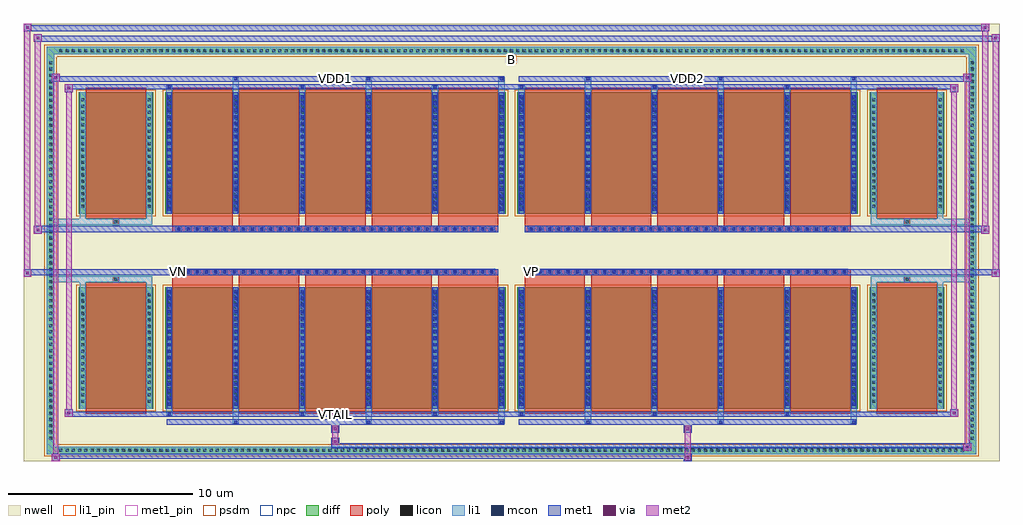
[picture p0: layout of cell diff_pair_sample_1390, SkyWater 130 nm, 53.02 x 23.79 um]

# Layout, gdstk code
import gdstk
lib = gdstk.Library(unit=1e-6, precision=5e-09)
def R(c, l, rs):  # rectangles x0, y0, x1, y1
    for r in rs: c.add(gdstk.rectangle(r[:2], r[2:], *l))
def A(c, l, x, y, w, h, nx, ny, dx, dy):  # array of equal rectangles
    R(c, l, [(x+i*dx, y+j*dy, x+i*dx+w, y+j*dy+h) for i in range(nx) for j in range(ny)])
def P(c, l, *ps):  # polygons
    for p in ps: c.add(gdstk.Polygon(p, *l))
nwell = (64, 20)
diff = (65, 20)
poly = (66, 20)
licon = (66, 44)
li1_pin = (67, 16)
li1 = (67, 20)
mcon = (67, 44)
met1_pin = (68, 16)
met1 = (68, 20)
via = (68, 44)
met2 = (69, 20)
psdm = (94, 20)
npc = (95, 20)

diff_pair_sample_1390 = lib.new_cell('diff_pair_sample_1390')
R(diff_pair_sample_1390, nwell, [(-26.51,-11.46,26.51,12.33), (-23.83,-9.65,-0.01,-0.805), (0.01,-9.65,23.83,-0.805), (-23.83,0.805,-0.01,9.65), (0.01,0.805,23.83,9.65)])
A(diff_pair_sample_1390, diff, -24.685, -11.06, 0.41, 0.41, 145, 2, 0.34, 21.71)
A(diff_pair_sample_1390, diff, -25.24, -10.405, 0.41, 0.41, 1, 61, 0, 0.34)
A(diff_pair_sample_1390, diff, 24.83, -10.405, 0.41, 0.41, 1, 61, 0, 0.34)
R(diff_pair_sample_1390, diff, [(-24.685,-11.06,24.685,-10.65), (-25.24,-10.405,-24.83,10.405), (24.83,-10.405,25.24,10.405), (-23.52,-8.605,-19.46,-1.985), (-18.82,-8.605,-0.32,-1.985), (0.32,-8.605,18.82,-1.985), (19.46,-8.605,23.52,-1.985), (-23.52,1.985,-19.46,8.605), (-18.82,1.985,-0.32,8.605), (0.32,1.985,18.82,8.605), (19.46,1.985,23.52,8.605), (-24.685,10.65,24.685,11.06)])
P(diff_pair_sample_1390, diff, [(25.24,11.06),(-25.24,11.06),(-25.24,-10.65),(-24.83,-10.65),(-24.83,10.65),(24.83,10.65),(24.83,-10.65),(-24.83,-10.65),(-25.24,-10.65),(-25.24,-11.06),(25.24,-11.06)])
A(diff_pair_sample_1390, poly, -18.43, -8.855, 3.28, 7.12, 5, 2, 3.61, 10.59)
A(diff_pair_sample_1390, poly, 0.71, -8.855, 3.28, 7.12, 5, 2, 3.61, 10.59)
A(diff_pair_sample_1390, poly, -18.43, -1.735, 3.28, 0.4, 5, 2, 3.61, 3.07)
A(diff_pair_sample_1390, poly, 0.71, -1.735, 3.28, 0.4, 5, 2, 3.61, 3.07)
A(diff_pair_sample_1390, poly, -18.235, -1.335, 0.33, 0.33, 35, 2, 0.5, 2.34)
A(diff_pair_sample_1390, poly, 0.905, -1.335, 0.33, 0.33, 35, 2, 0.5, 2.34)
R(diff_pair_sample_1390, poly, [(-23.13,-8.855,-19.85,-1.735), (19.85,-8.855,23.13,-1.735), (-21.655,-1.735,-21.325,-1.405), (-21.655,-1.735,-21.325,-1.405), (21.325,-1.735,21.655,-1.405), (21.325,-1.735,21.655,-1.405), (-18.43,-1.335,-0.71,-1.005), (0.71,-1.335,18.43,-1.005), (-18.43,1.005,-0.71,1.335), (0.71,1.005,18.43,1.335), (-21.655,1.405,-21.325,1.735), (-21.655,1.405,-21.325,1.735), (21.325,1.405,21.655,1.735), (21.325,1.405,21.655,1.735), (-23.13,1.735,-19.85,8.855), (19.85,1.735,23.13,8.855)])
A(diff_pair_sample_1390, licon, -24.565, -10.94, 0.17, 0.17, 145, 2, 0.34, 21.71)
A(diff_pair_sample_1390, licon, -25.12, -10.285, 0.17, 0.17, 1, 61, 0, 0.34)
A(diff_pair_sample_1390, licon, 24.95, -10.285, 0.17, 0.17, 1, 61, 0, 0.34)
A(diff_pair_sample_1390, licon, -23.38, -8.27, 0.17, 0.17, 1, 18, 0, 0.34)
A(diff_pair_sample_1390, licon, -19.77, -8.27, 0.17, 0.17, 1, 18, 0, 0.34)
A(diff_pair_sample_1390, licon, -18.68, -8.27, 0.17, 0.17, 6, 18, 3.61, 0.34)
A(diff_pair_sample_1390, licon, 0.46, -8.27, 0.17, 0.17, 6, 18, 3.61, 0.34)
A(diff_pair_sample_1390, licon, 19.6, -8.27, 0.17, 0.17, 1, 18, 0, 0.34)
A(diff_pair_sample_1390, licon, 23.21, -8.27, 0.17, 0.17, 1, 18, 0, 0.34)
A(diff_pair_sample_1390, licon, -18.155, -1.255, 0.17, 0.17, 35, 2, 0.5, 2.34)
A(diff_pair_sample_1390, licon, 0.985, -1.255, 0.17, 0.17, 35, 2, 0.5, 2.34)
A(diff_pair_sample_1390, licon, -23.38, 2.32, 0.17, 0.17, 1, 18, 0, 0.34)
A(diff_pair_sample_1390, licon, -19.77, 2.32, 0.17, 0.17, 1, 18, 0, 0.34)
A(diff_pair_sample_1390, licon, -18.68, 2.32, 0.17, 0.17, 6, 18, 3.61, 0.34)
A(diff_pair_sample_1390, licon, 0.46, 2.32, 0.17, 0.17, 6, 18, 3.61, 0.34)
A(diff_pair_sample_1390, licon, 19.6, 2.32, 0.17, 0.17, 1, 18, 0, 0.34)
A(diff_pair_sample_1390, licon, 23.21, 2.32, 0.17, 0.17, 1, 18, 0, 0.34)
R(diff_pair_sample_1390, licon, [(-21.575,-1.655,-21.405,-1.485), (21.405,-1.655,21.575,-1.485), (-21.575,1.485,-21.405,1.655), (21.405,1.485,21.575,1.655)])
R(diff_pair_sample_1390, li1_pin, [(-0.25,10.15,0.25,10.65)])
A(diff_pair_sample_1390, li1, -24.645, -11.02, 0.33, 0.33, 145, 2, 0.34, 21.71)
A(diff_pair_sample_1390, li1, -25.2, -10.365, 0.33, 0.33, 1, 61, 0, 0.34)
A(diff_pair_sample_1390, li1, 24.87, -10.365, 0.33, 0.33, 1, 61, 0, 0.34)
A(diff_pair_sample_1390, li1, -15.15, -9.41, 0.33, 0.805, 3, 2, 7.22, 18.015)
A(diff_pair_sample_1390, li1, -15.07, -9.41, 0.17, 0.17, 3, 2, 7.22, 18.65)
A(diff_pair_sample_1390, li1, 3.99, -9.41, 0.33, 0.805, 3, 2, 7.22, 18.015)
A(diff_pair_sample_1390, li1, 4.07, -9.41, 0.17, 0.17, 3, 2, 7.22, 18.65)
A(diff_pair_sample_1390, li1, -18.76, -8.98, 0.33, 0.375, 3, 2, 7.22, 17.585)
A(diff_pair_sample_1390, li1, -18.68, -8.98, 0.17, 0.17, 3, 2, 7.22, 17.79)
A(diff_pair_sample_1390, li1, 0.38, -8.98, 0.33, 0.375, 3, 2, 7.22, 17.585)
A(diff_pair_sample_1390, li1, 0.46, -8.98, 0.17, 0.17, 3, 2, 7.22, 17.79)
A(diff_pair_sample_1390, li1, -18.76, -8.605, 0.33, 6.62, 6, 2, 3.61, 10.59)
A(diff_pair_sample_1390, li1, 0.38, -8.605, 0.33, 6.62, 6, 2, 3.61, 10.59)
A(diff_pair_sample_1390, li1, -18.68, -8.44, 0.17, 0.17, 6, 18, 3.61, 0.36)
A(diff_pair_sample_1390, li1, -18.68, -8.44, 0.17, 6.29, 6, 2, 3.61, 10.59)
A(diff_pair_sample_1390, li1, 0.46, -8.44, 0.17, 0.17, 6, 18, 3.61, 0.36)
A(diff_pair_sample_1390, li1, 0.46, -8.44, 0.17, 6.29, 6, 2, 3.61, 10.59)
A(diff_pair_sample_1390, li1, -23.46, -8.35, 0.33, 0.33, 1, 18, 0, 0.34)
A(diff_pair_sample_1390, li1, -19.85, -8.35, 0.33, 0.33, 1, 18, 0, 0.34)
A(diff_pair_sample_1390, li1, -18.76, -8.35, 0.33, 0.33, 6, 18, 3.61, 0.34)
A(diff_pair_sample_1390, li1, 0.38, -8.35, 0.33, 0.33, 6, 18, 3.61, 0.34)
A(diff_pair_sample_1390, li1, 19.52, -8.35, 0.33, 0.33, 1, 18, 0, 0.34)
A(diff_pair_sample_1390, li1, 23.13, -8.35, 0.33, 0.33, 1, 18, 0, 0.34)
A(diff_pair_sample_1390, li1, -18.235, -1.335, 0.33, 0.33, 35, 2, 0.5, 2.34)
A(diff_pair_sample_1390, li1, 0.905, -1.335, 0.33, 0.33, 35, 2, 0.5, 2.34)
A(diff_pair_sample_1390, li1, -18.68, 2.15, 0.17, 0.17, 6, 18, 3.61, 0.36)
A(diff_pair_sample_1390, li1, 0.46, 2.15, 0.17, 0.17, 6, 18, 3.61, 0.36)
A(diff_pair_sample_1390, li1, -23.46, 2.24, 0.33, 0.33, 1, 18, 0, 0.34)
A(diff_pair_sample_1390, li1, -19.85, 2.24, 0.33, 0.33, 1, 18, 0, 0.34)
A(diff_pair_sample_1390, li1, -18.76, 2.24, 0.33, 0.33, 6, 18, 3.61, 0.34)
A(diff_pair_sample_1390, li1, 0.38, 2.24, 0.33, 0.33, 6, 18, 3.61, 0.34)
A(diff_pair_sample_1390, li1, 19.52, 2.24, 0.33, 0.33, 1, 18, 0, 0.34)
A(diff_pair_sample_1390, li1, 23.13, 2.24, 0.33, 0.33, 1, 18, 0, 0.34)
R(diff_pair_sample_1390, li1, [(-25.24,-11.06,-24.83,-10.65), (-25.24,-11.06,-24.83,-10.65), (-24.83,-11.06,24.83,-10.65), (24.83,-11.06,25.24,-10.65), (24.83,-11.06,25.24,-10.65), (-25.24,-10.65,-24.83,10.65), (24.83,-10.65,25.24,10.65), (-23.46,-8.605,-23.13,-1.985), (-19.85,-8.605,-19.52,-1.985), (19.52,-8.605,19.85,-1.985), (23.13,-8.605,23.46,-1.985), (-23.46,-1.985,-23.13,-1.405), (-19.85,-1.985,-19.52,-1.405), (19.52,-1.985,19.85,-1.405), (23.13,-1.985,23.46,-1.405), (-25.24,-1.735,-21.655,-1.405), (-23.46,-1.735,-21.655,-1.405), (-21.655,-1.735,-21.325,-1.405), (-21.325,-1.735,-19.52,-1.405), (19.52,-1.735,21.325,-1.405), (21.325,-1.735,21.655,-1.405), (21.325,-1.735,25.24,-1.405), (21.655,-1.735,23.46,-1.405), (-25.24,1.405,-21.655,1.735), (-23.46,1.405,-21.655,1.735), (-23.46,1.405,-23.13,1.985), (-21.655,1.405,-21.325,1.735), (-21.325,1.405,-19.52,1.735), (-19.85,1.405,-19.52,1.985), (19.52,1.405,21.325,1.735), (19.52,1.405,19.85,1.985), (21.325,1.405,21.655,1.735), (21.325,1.405,25.24,1.735), (21.655,1.405,23.46,1.735), (23.13,1.405,23.46,1.985), (-23.46,1.985,-23.13,8.605), (-19.85,1.985,-19.52,8.605), (19.52,1.985,19.85,8.605), (23.13,1.985,23.46,8.605), (-25.24,10.65,-24.83,11.06), (-25.24,10.65,-24.83,11.06), (-24.83,10.65,24.83,11.06), (24.83,10.65,25.24,11.06), (24.83,10.65,25.24,11.06)])
A(diff_pair_sample_1390, mcon, -15.07, -9.41, 0.17, 0.17, 3, 2, 7.22, 18.65)
A(diff_pair_sample_1390, mcon, 4.07, -9.41, 0.17, 0.17, 3, 2, 7.22, 18.65)
A(diff_pair_sample_1390, mcon, -18.68, -8.98, 0.17, 0.17, 3, 2, 7.22, 17.79)
A(diff_pair_sample_1390, mcon, 0.46, -8.98, 0.17, 0.17, 3, 2, 7.22, 17.79)
A(diff_pair_sample_1390, mcon, -18.68, -8.44, 0.17, 0.17, 6, 18, 3.61, 0.36)
A(diff_pair_sample_1390, mcon, 0.46, -8.44, 0.17, 0.17, 6, 18, 3.61, 0.36)
A(diff_pair_sample_1390, mcon, -18.155, -1.255, 0.17, 0.17, 35, 2, 0.5, 2.34)
A(diff_pair_sample_1390, mcon, 0.985, -1.255, 0.17, 0.17, 35, 2, 0.5, 2.34)
A(diff_pair_sample_1390, mcon, -18.68, 2.15, 0.17, 0.17, 6, 18, 3.61, 0.36)
A(diff_pair_sample_1390, mcon, 0.46, 2.15, 0.17, 0.17, 6, 18, 3.61, 0.36)
R(diff_pair_sample_1390, met1_pin, [(-9.705,-9.02,-9.435,-8.75), (-18.205,-1.295,-17.935,-1.025), (0.935,-1.295,1.205,-1.025), (-9.705,9.2,-9.435,9.47), (9.435,9.2,9.705,9.47)])
A(diff_pair_sample_1390, met1, -15.13, -9.47, 0.29, 0.29, 3, 2, 7.22, 18.65)
A(diff_pair_sample_1390, met1, 4.01, -9.47, 0.29, 0.29, 3, 2, 7.22, 18.65)
A(diff_pair_sample_1390, met1, -18.74, -9.04, 0.29, 0.29, 3, 2, 7.22, 17.79)
A(diff_pair_sample_1390, met1, 0.4, -9.04, 0.29, 0.29, 3, 2, 7.22, 17.79)
A(diff_pair_sample_1390, met1, -18.74, -8.605, 0.29, 6.62, 6, 2, 3.61, 10.59)
A(diff_pair_sample_1390, met1, 0.4, -8.605, 0.29, 6.62, 6, 2, 3.61, 10.59)
A(diff_pair_sample_1390, met1, -18.74, -8.5, 0.29, 0.29, 6, 18, 3.61, 0.36)
A(diff_pair_sample_1390, met1, 0.4, -8.5, 0.29, 0.29, 6, 18, 3.61, 0.36)
A(diff_pair_sample_1390, met1, -18.215, -1.315, 0.29, 0.29, 35, 2, 0.5, 2.34)
A(diff_pair_sample_1390, met1, 0.925, -1.315, 0.29, 0.29, 35, 2, 0.5, 2.34)
A(diff_pair_sample_1390, met1, -18.74, 2.09, 0.29, 0.29, 6, 18, 3.61, 0.36)
A(diff_pair_sample_1390, met1, 0.4, 2.09, 0.29, 0.29, 6, 18, 3.61, 0.36)
R(diff_pair_sample_1390, met1, [(-24.97,-11.46,-24.54,-11.03), (9.355,-11.46,9.785,-11.03), (-24.97,-11.32,9.785,-11.03), (24.54,-10.89,24.97,-10.46), (-9.785,-10.75,24.97,-10.46), (-9.785,-10.61,-9.355,-10.18), (-9.785,-9.9,-9.355,-9.47), (9.355,-9.9,9.785,-9.47), (-18.74,-9.47,-0.4,-9.18), (0.4,-9.47,18.74,-9.18), (-24.26,-9.04,-23.83,-8.61), (-24.26,-9.04,-18.74,-8.75), (-18.74,-9.04,-0.4,-8.75), (-0.4,-9.04,0.4,-8.75), (0.4,-9.04,18.74,-8.75), (18.74,-9.04,24.26,-8.75), (23.83,-9.04,24.26,-8.61), (-26.51,-1.435,-26.08,-1.005), (26.08,-1.435,26.51,-1.005), (-26.51,-1.335,-0.71,-1.005), (-18.43,-1.335,-0.71,-1.005), (0.71,-1.335,18.43,-1.005), (0.71,-1.335,26.51,-1.005), (-25.94,0.905,-25.51,1.335), (25.51,0.905,25.94,1.335), (-25.94,1.005,-18.43,1.335), (-18.43,1.005,-0.71,1.335), (0.71,1.005,18.43,1.335), (18.43,1.005,25.94,1.335), (-24.26,8.61,-23.83,9.04), (23.83,8.61,24.26,9.04), (-24.26,8.75,-18.74,9.04), (-18.74,8.75,-0.4,9.04), (-0.4,8.75,0.4,9.04), (0.4,8.75,18.74,9.04), (18.74,8.75,24.26,9.04), (-24.97,9.18,-24.54,9.61), (-24.97,9.18,-18.74,9.47), (-18.74,9.18,-0.4,9.47), (0.4,9.18,18.74,9.47), (18.74,9.18,24.97,9.47), (24.54,9.18,24.97,9.61), (-25.94,11.33,-25.51,11.76), (-25.94,11.33,-23.83,11.66), (-23.83,11.33,23.83,11.66), (23.83,11.33,26.51,11.66), (26.08,11.33,26.51,11.76), (-26.51,11.9,-26.08,12.33), (-26.51,11.9,-23.83,12.23), (-23.83,11.9,23.83,12.23), (23.83,11.9,25.94,12.23), (25.51,11.9,25.94,12.33)])
R(diff_pair_sample_1390, via, [(-24.83,-11.32,-24.68,-11.17), (9.495,-11.32,9.645,-11.17), (24.68,-10.75,24.83,-10.6), (-9.645,-10.47,-9.495,-10.32), (-9.645,-9.76,-9.495,-9.61), (9.495,-9.76,9.645,-9.61), (-24.12,-8.9,-23.97,-8.75), (23.97,-8.9,24.12,-8.75), (-26.37,-1.295,-26.22,-1.145), (26.22,-1.295,26.37,-1.145), (-25.8,1.045,-25.65,1.195), (25.65,1.045,25.8,1.195), (-24.12,8.75,-23.97,8.9), (23.97,8.75,24.12,8.9), (-24.83,9.32,-24.68,9.47), (24.68,9.32,24.83,9.47), (-25.8,11.47,-25.65,11.62), (26.22,11.47,26.37,11.62), (-26.37,12.04,-26.22,12.19), (25.65,12.04,25.8,12.19)])
R(diff_pair_sample_1390, met2, [(-24.97,-11.46,-24.54,-11.03), (-24.9,-11.46,-24.61,9.61), (-24.61,-11.46,-24.54,-11.03), (-24.92,-11.41,-24.59,-11.08), (9.405,-11.41,9.735,-11.08), (9.405,-11.08,9.735,-9.85), (24.54,-10.89,24.97,-10.46), (24.61,-10.89,24.9,9.61), (24.9,-10.89,24.97,-10.46), (24.59,-10.84,24.92,-10.51), (-9.735,-10.56,-9.405,-10.23), (-9.735,-10.23,-9.405,-9.85), (-9.735,-9.85,-9.405,-9.52), (9.405,-9.85,9.735,-9.52), (-24.26,-9.04,-23.83,-8.61), (-24.19,-9.04,-23.9,9.04), (-23.9,-9.04,-23.83,-8.61), (23.83,-9.04,24.26,-8.61), (23.9,-9.04,24.19,9.04), (24.19,-9.04,24.26,-8.61), (-24.21,-8.99,-23.88,-8.66), (23.88,-8.99,24.21,-8.66), (-26.51,-1.435,-26.08,-1.005), (-26.46,-1.435,-26.13,12.33), (-26.13,-1.435,-26.08,-1.005), (26.08,-1.435,26.51,-1.005), (26.13,-1.435,26.46,11.76), (26.46,-1.435,26.51,-1.005), (-26.46,-1.385,-26.13,-1.055), (26.13,-1.385,26.46,-1.055), (-25.94,0.905,-25.51,1.335), (-25.89,0.905,-25.56,11.76), (-25.56,0.905,-25.51,1.335), (25.51,0.905,25.94,1.335), (25.56,0.905,25.89,12.33), (25.89,0.905,25.94,1.335), (-25.89,0.955,-25.56,1.285), (25.56,0.955,25.89,1.285), (-24.26,8.61,-23.83,9.04), (-23.9,8.61,-23.83,9.04), (23.83,8.61,24.26,9.04), (24.19,8.61,24.26,9.04), (-24.21,8.66,-23.88,8.99), (23.88,8.66,24.21,8.99), (-24.97,9.18,-24.54,9.61), (-24.61,9.18,-24.54,9.61), (24.54,9.18,24.97,9.61), (24.9,9.18,24.97,9.61), (-24.92,9.23,-24.59,9.56), (24.59,9.23,24.92,9.56), (-25.94,11.33,-25.51,11.76), (-25.56,11.33,-25.51,11.76), (26.08,11.33,26.51,11.76), (26.46,11.33,26.51,11.76), (-25.89,11.38,-25.56,11.71), (26.13,11.38,26.46,11.71), (-26.51,11.9,-26.08,12.33), (-26.13,11.9,-26.08,12.33), (25.51,11.9,25.94,12.33), (25.89,11.9,25.94,12.33), (-26.46,11.95,-26.13,12.28), (25.56,11.95,25.89,12.28)])
R(diff_pair_sample_1390, psdm, [(-23.65,-8.735,-19.33,-1.855), (-18.95,-8.735,-0.19,-1.855), (0.19,-8.735,18.95,-1.855), (19.33,-8.735,23.65,-1.855), (-23.65,1.855,-19.33,8.735), (-18.95,1.855,-0.19,8.735), (0.19,1.855,18.95,8.735), (19.33,1.855,23.65,8.735)])
P(diff_pair_sample_1390, psdm, [(25.37,11.19),(-25.37,11.19),(-25.37,-10.52),(-24.7,-10.52),(-24.7,10.52),(24.7,10.52),(24.7,-10.52),(-24.7,-10.52),(-25.37,-10.52),(-25.37,-11.19),(25.37,-11.19)])
A(diff_pair_sample_1390, npc, -18.255, -1.355, 0.37, 0.37, 35, 2, 0.5, 2.34)
A(diff_pair_sample_1390, npc, 0.885, -1.355, 0.37, 0.37, 35, 2, 0.5, 2.34)
R(diff_pair_sample_1390, npc, [(-21.675,-1.755,-21.305,-1.385), (21.305,-1.755,21.675,-1.385), (-18.255,-1.355,-17.385,-0.985), (-18.255,-1.355,-17.385,-0.985), (-17.755,-1.355,-16.885,-0.985), (-17.755,-1.355,-16.885,-0.985), (-17.255,-1.355,-16.385,-0.985), (-17.255,-1.355,-16.385,-0.985), (-16.755,-1.355,-15.885,-0.985), (-16.755,-1.355,-15.885,-0.985), (-16.255,-1.355,-15.385,-0.985), (-16.255,-1.355,-15.385,-0.985), (-15.755,-1.355,-14.885,-0.985), (-15.755,-1.355,-14.885,-0.985), (-15.255,-1.355,-14.385,-0.985), (-15.255,-1.355,-14.385,-0.985), (-14.755,-1.355,-13.885,-0.985), (-14.755,-1.355,-13.885,-0.985), (-14.255,-1.355,-13.385,-0.985), (-14.255,-1.355,-13.385,-0.985), (-13.755,-1.355,-12.885,-0.985), (-13.755,-1.355,-12.885,-0.985), (-13.255,-1.355,-12.385,-0.985), (-13.255,-1.355,-12.385,-0.985), (-12.755,-1.355,-11.885,-0.985), (-12.755,-1.355,-11.885,-0.985), (-12.255,-1.355,-11.385,-0.985), (-12.255,-1.355,-11.385,-0.985), (-11.755,-1.355,-10.885,-0.985), (-11.755,-1.355,-10.885,-0.985), (-11.255,-1.355,-10.385,-0.985), (-11.255,-1.355,-10.385,-0.985), (-10.755,-1.355,-9.885,-0.985), (-10.755,-1.355,-9.885,-0.985), (-10.255,-1.355,-9.385,-0.985), (-10.255,-1.355,-9.385,-0.985), (-9.755,-1.355,-8.885,-0.985), (-9.755,-1.355,-8.885,-0.985), (-9.255,-1.355,-8.385,-0.985), (-9.255,-1.355,-8.385,-0.985), (-8.755,-1.355,-7.885,-0.985), (-8.755,-1.355,-7.885,-0.985), (-8.255,-1.355,-7.385,-0.985), (-8.255,-1.355,-7.385,-0.985), (-7.755,-1.355,-6.885,-0.985), (-7.755,-1.355,-6.885,-0.985), (-7.255,-1.355,-6.385,-0.985), (-7.255,-1.355,-6.385,-0.985), (-6.755,-1.355,-5.885,-0.985), (-6.755,-1.355,-5.885,-0.985), (-6.255,-1.355,-5.385,-0.985), (-6.255,-1.355,-5.385,-0.985), (-5.755,-1.355,-4.885,-0.985), (-5.755,-1.355,-4.885,-0.985), (-5.255,-1.355,-4.385,-0.985), (-5.255,-1.355,-4.385,-0.985), (-4.755,-1.355,-3.885,-0.985), (-4.755,-1.355,-3.885,-0.985), (-4.255,-1.355,-3.385,-0.985), (-4.255,-1.355,-3.385,-0.985), (-3.755,-1.355,-2.885,-0.985), (-3.755,-1.355,-2.885,-0.985), (-3.255,-1.355,-2.385,-0.985), (-3.255,-1.355,-2.385,-0.985), (-2.755,-1.355,-1.885,-0.985), (-2.755,-1.355,-1.885,-0.985), (-2.255,-1.355,-1.385,-0.985), (-2.255,-1.355,-1.385,-0.985), (-1.755,-1.355,-0.885,-0.985), (-1.755,-1.355,-0.885,-0.985), (0.885,-1.355,1.755,-0.985), (0.885,-1.355,1.755,-0.985), (1.385,-1.355,2.255,-0.985), (1.385,-1.355,2.255,-0.985), (1.885,-1.355,2.755,-0.985), (1.885,-1.355,2.755,-0.985), (2.385,-1.355,3.255,-0.985), (2.385,-1.355,3.255,-0.985), (2.885,-1.355,3.755,-0.985), (2.885,-1.355,3.755,-0.985), (3.385,-1.355,4.255,-0.985), (3.385,-1.355,4.255,-0.985), (3.885,-1.355,4.755,-0.985), (3.885,-1.355,4.755,-0.985), (4.385,-1.355,5.255,-0.985), (4.385,-1.355,5.255,-0.985), (4.885,-1.355,5.755,-0.985), (4.885,-1.355,5.755,-0.985), (5.385,-1.355,6.255,-0.985), (5.385,-1.355,6.255,-0.985), (5.885,-1.355,6.755,-0.985), (5.885,-1.355,6.755,-0.985), (6.385,-1.355,7.255,-0.985), (6.385,-1.355,7.255,-0.985), (6.885,-1.355,7.755,-0.985), (6.885,-1.355,7.755,-0.985), (7.385,-1.355,8.255,-0.985), (7.385,-1.355,8.255,-0.985), (7.885,-1.355,8.755,-0.985), (7.885,-1.355,8.755,-0.985), (8.385,-1.355,9.255,-0.985), (8.385,-1.355,9.255,-0.985), (8.885,-1.355,9.755,-0.985), (8.885,-1.355,9.755,-0.985), (9.385,-1.355,10.255,-0.985), (9.385,-1.355,10.255,-0.985), (9.885,-1.355,10.755,-0.985), (9.885,-1.355,10.755,-0.985), (10.385,-1.355,11.255,-0.985), (10.385,-1.355,11.255,-0.985), (10.885,-1.355,11.755,-0.985), (10.885,-1.355,11.755,-0.985), (11.385,-1.355,12.255,-0.985), (11.385,-1.355,12.255,-0.985), (11.885,-1.355,12.755,-0.985), (11.885,-1.355,12.755,-0.985), (12.385,-1.355,13.255,-0.985), (12.385,-1.355,13.255,-0.985), (12.885,-1.355,13.755,-0.985), (12.885,-1.355,13.755,-0.985), (13.385,-1.355,14.255,-0.985), (13.385,-1.355,14.255,-0.985), (13.885,-1.355,14.755,-0.985), (13.885,-1.355,14.755,-0.985), (14.385,-1.355,15.255,-0.985), (14.385,-1.355,15.255,-0.985), (14.885,-1.355,15.755,-0.985), (14.885,-1.355,15.755,-0.985), (15.385,-1.355,16.255,-0.985), (15.385,-1.355,16.255,-0.985), (15.885,-1.355,16.755,-0.985), (15.885,-1.355,16.755,-0.985), (16.385,-1.355,17.255,-0.985), (16.385,-1.355,17.255,-0.985), (16.885,-1.355,17.755,-0.985), (16.885,-1.355,17.755,-0.985), (17.385,-1.355,18.255,-0.985), (17.385,-1.355,18.255,-0.985), (-18.255,0.985,-17.385,1.355), (-18.255,0.985,-17.385,1.355), (-17.755,0.985,-16.885,1.355), (-17.755,0.985,-16.885,1.355), (-17.255,0.985,-16.385,1.355), (-17.255,0.985,-16.385,1.355), (-16.755,0.985,-15.885,1.355), (-16.755,0.985,-15.885,1.355), (-16.255,0.985,-15.385,1.355), (-16.255,0.985,-15.385,1.355), (-15.755,0.985,-14.885,1.355), (-15.755,0.985,-14.885,1.355), (-15.255,0.985,-14.385,1.355), (-15.255,0.985,-14.385,1.355), (-14.755,0.985,-13.885,1.355), (-14.755,0.985,-13.885,1.355), (-14.255,0.985,-13.385,1.355), (-14.255,0.985,-13.385,1.355), (-13.755,0.985,-12.885,1.355), (-13.755,0.985,-12.885,1.355), (-13.255,0.985,-12.385,1.355), (-13.255,0.985,-12.385,1.355), (-12.755,0.985,-11.885,1.355), (-12.755,0.985,-11.885,1.355), (-12.255,0.985,-11.385,1.355), (-12.255,0.985,-11.385,1.355), (-11.755,0.985,-10.885,1.355), (-11.755,0.985,-10.885,1.355), (-11.255,0.985,-10.385,1.355), (-11.255,0.985,-10.385,1.355), (-10.755,0.985,-9.885,1.355), (-10.755,0.985,-9.885,1.355), (-10.255,0.985,-9.385,1.355), (-10.255,0.985,-9.385,1.355), (-9.755,0.985,-8.885,1.355), (-9.755,0.985,-8.885,1.355), (-9.255,0.985,-8.385,1.355), (-9.255,0.985,-8.385,1.355), (-8.755,0.985,-7.885,1.355), (-8.755,0.985,-7.885,1.355), (-8.255,0.985,-7.385,1.355), (-8.255,0.985,-7.385,1.355), (-7.755,0.985,-6.885,1.355), (-7.755,0.985,-6.885,1.355), (-7.255,0.985,-6.385,1.355), (-7.255,0.985,-6.385,1.355), (-6.755,0.985,-5.885,1.355), (-6.755,0.985,-5.885,1.355), (-6.255,0.985,-5.385,1.355), (-6.255,0.985,-5.385,1.355), (-5.755,0.985,-4.885,1.355), (-5.755,0.985,-4.885,1.355), (-5.255,0.985,-4.385,1.355), (-5.255,0.985,-4.385,1.355), (-4.755,0.985,-3.885,1.355), (-4.755,0.985,-3.885,1.355), (-4.255,0.985,-3.385,1.355), (-4.255,0.985,-3.385,1.355), (-3.755,0.985,-2.885,1.355), (-3.755,0.985,-2.885,1.355), (-3.255,0.985,-2.385,1.355), (-3.255,0.985,-2.385,1.355), (-2.755,0.985,-1.885,1.355), (-2.755,0.985,-1.885,1.355), (-2.255,0.985,-1.385,1.355), (-2.255,0.985,-1.385,1.355), (-1.755,0.985,-0.885,1.355), (-1.755,0.985,-0.885,1.355), (0.885,0.985,1.755,1.355), (0.885,0.985,1.755,1.355), (1.385,0.985,2.255,1.355), (1.385,0.985,2.255,1.355), (1.885,0.985,2.755,1.355), (1.885,0.985,2.755,1.355), (2.385,0.985,3.255,1.355), (2.385,0.985,3.255,1.355), (2.885,0.985,3.755,1.355), (2.885,0.985,3.755,1.355), (3.385,0.985,4.255,1.355), (3.385,0.985,4.255,1.355), (3.885,0.985,4.755,1.355), (3.885,0.985,4.755,1.355), (4.385,0.985,5.255,1.355), (4.385,0.985,5.255,1.355), (4.885,0.985,5.755,1.355), (4.885,0.985,5.755,1.355), (5.385,0.985,6.255,1.355), (5.385,0.985,6.255,1.355), (5.885,0.985,6.755,1.355), (5.885,0.985,6.755,1.355), (6.385,0.985,7.255,1.355), (6.385,0.985,7.255,1.355), (6.885,0.985,7.755,1.355), (6.885,0.985,7.755,1.355), (7.385,0.985,8.255,1.355), (7.385,0.985,8.255,1.355), (7.885,0.985,8.755,1.355), (7.885,0.985,8.755,1.355), (8.385,0.985,9.255,1.355), (8.385,0.985,9.255,1.355), (8.885,0.985,9.755,1.355), (8.885,0.985,9.755,1.355), (9.385,0.985,10.255,1.355), (9.385,0.985,10.255,1.355), (9.885,0.985,10.755,1.355), (9.885,0.985,10.755,1.355), (10.385,0.985,11.255,1.355), (10.385,0.985,11.255,1.355), (10.885,0.985,11.755,1.355), (10.885,0.985,11.755,1.355), (11.385,0.985,12.255,1.355), (11.385,0.985,12.255,1.355), (11.885,0.985,12.755,1.355), (11.885,0.985,12.755,1.355), (12.385,0.985,13.255,1.355), (12.385,0.985,13.255,1.355), (12.885,0.985,13.755,1.355), (12.885,0.985,13.755,1.355), (13.385,0.985,14.255,1.355), (13.385,0.985,14.255,1.355), (13.885,0.985,14.755,1.355), (13.885,0.985,14.755,1.355), (14.385,0.985,15.255,1.355), (14.385,0.985,15.255,1.355), (14.885,0.985,15.755,1.355), (14.885,0.985,15.755,1.355), (15.385,0.985,16.255,1.355), (15.385,0.985,16.255,1.355), (15.885,0.985,16.755,1.355), (15.885,0.985,16.755,1.355), (16.385,0.985,17.255,1.355), (16.385,0.985,17.255,1.355), (16.885,0.985,17.755,1.355), (16.885,0.985,17.755,1.355), (17.385,0.985,18.255,1.355), (17.385,0.985,18.255,1.355), (-21.675,1.385,-21.305,1.755), (21.305,1.385,21.675,1.755)])
diff_pair_sample_1390.add(gdstk.Label('VTAIL', (-9.57,-8.885), layer=68, texttype=5))
diff_pair_sample_1390.add(gdstk.Label('VN', (-18.07,-1.16), layer=68, texttype=5))
diff_pair_sample_1390.add(gdstk.Label('VP', (1.07,-1.16), layer=68, texttype=5))
diff_pair_sample_1390.add(gdstk.Label('B', (0,10.4), layer=67, texttype=5))
diff_pair_sample_1390.add(gdstk.Label('VDD2', (9.57,9.335), layer=68, texttype=5))
diff_pair_sample_1390.add(gdstk.Label('VDD1', (-9.57,9.335), layer=68, texttype=5))

lib.write_gds('diff_pair_sample_1390.gds')
